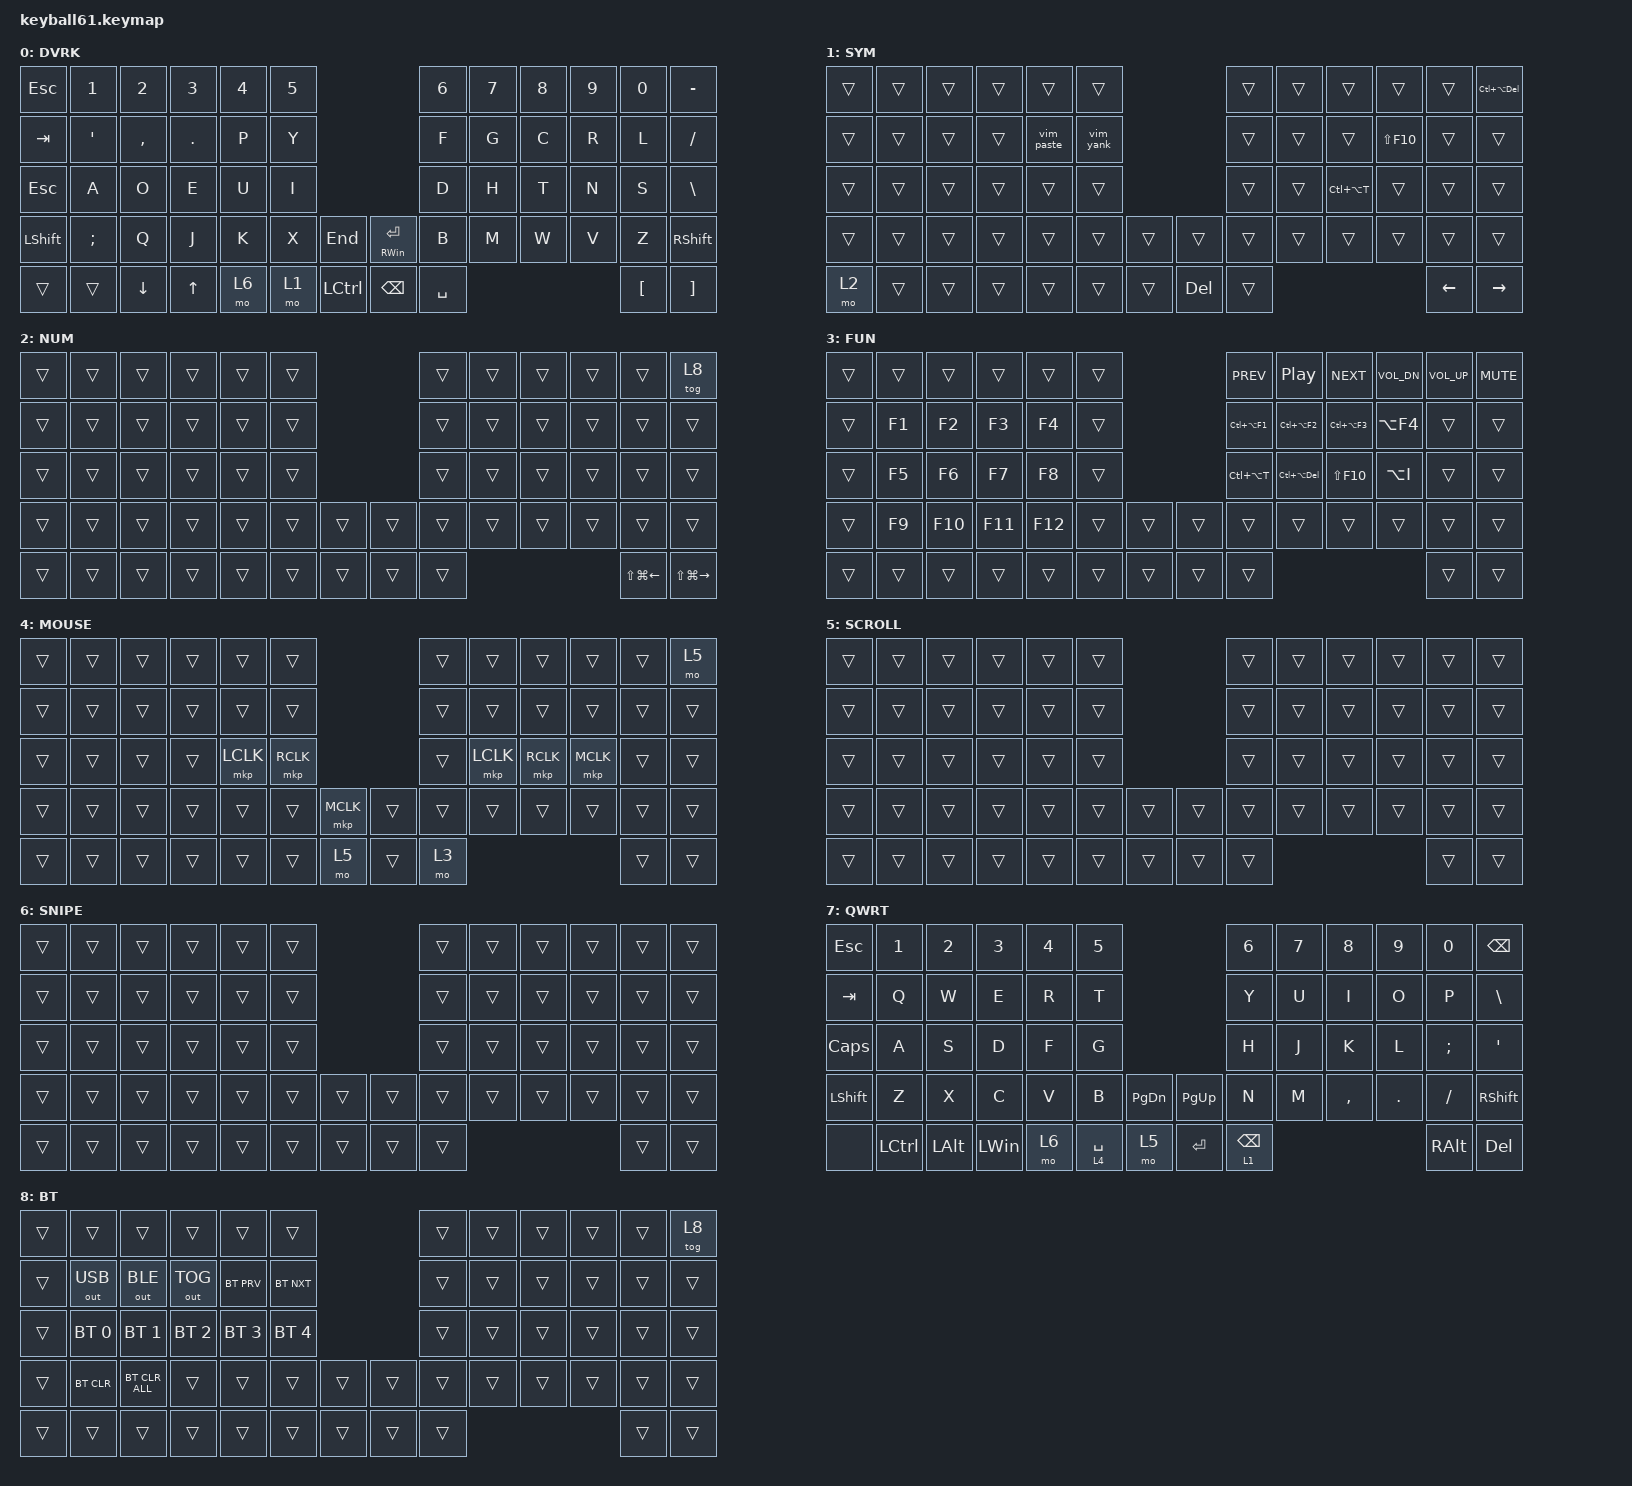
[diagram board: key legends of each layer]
#define DEFAULT 0
#define SYM     1
#define NUM     2
#define FUN     3
#define MOUSE   4
#define SCROLL  5
#define SNIPE   6
#define QWRT    7
#define BT      8

#include <behaviors/mouse_keys.dtsi>
#include <dt-bindings/zmk/mouse.h>
#include <behaviors.dtsi>
#include <dt-bindings/zmk/bt.h>
#include <dt-bindings/zmk/keys.h>
#include <dt-bindings/zmk/outputs.h>
#include <dt-bindings/zmk/pointing.h>

&nice_view_spi { cs-gpios = <&pro_micro 1 GPIO_ACTIVE_HIGH>; };

&lt {
    tapping-term-ms = <240>;
    flavor = "balanced";
    quick-tap-ms = <150>;
};

&mt {
    tapping-term-ms = <200>;
    flavor = "tap-preferred";
    quick-tap-ms = <150>;
};

/ {
    macros {
        #if __has_include("secrets.dtsi")
#include "secrets.dtsi"
#else
#include "secrets.example.dtsi"
#endif

        vim_paste: vim_paste {
            compatible = "zmk,behavior-macro";
            #binding-cells = <0>;
            wait-ms = <10>;
            tap-ms = <10>;
            bindings = <&macro_tap>, <&kp DOUBLE_QUOTES &kp PLUS &kp P>;
        };

        vim_yank: vim_yank {
            compatible = "zmk,behavior-macro";
            #binding-cells = <0>;
            wait-ms = <10>;
            tap-ms = <10>;
            bindings = <&macro_tap>, <&kp DOUBLE_QUOTES &kp PLUS &kp Y>;
        };
    };

    keymap {
        compatible = "zmk,keymap";

        default_layer {
            label = "DVRK";
            bindings = <
&kp ESC         &kp N1    &kp N2     &kp N3        &kp N4  &kp N5                                         &kp N6     &kp N7  &kp N8  &kp N9  &kp N0            &kp MINUS
&kp TAB         &kp SQT   &kp COMMA  &kp DOT       &kp P   &kp Y                                          &kp F      &kp G   &kp C   &kp R   &kp L             &kp FSLH
&kp ESC         &kp A     &kp O      &kp E         &kp U   &kp I                                          &kp D      &kp H   &kp T   &kp N   &kp S             &kp BACKSLASH
&kp LEFT_SHIFT  &kp SEMI  &kp Q      &kp J         &kp K   &kp X   &kp END           &mt RIGHT_WIN ENTER  &kp B      &kp M   &kp W   &kp V   &kp Z             &kp RIGHT_SHIFT
&trans          &trans    &kp DOWN   &kp UP_ARROW  &mo 6   &mo 1   &kp LEFT_CONTROL  &kp BACKSPACE        &kp SPACE                          &kp LEFT_BRACKET  &kp RIGHT_BRACKET
            >;
        };

        symbol_layer {
            label = "SYM";
            bindings = <
&trans  &trans  &trans  &trans  &trans      &trans                         &trans  &trans  &trans         &trans       &trans          &kp LC(LA(DEL))
&trans  &trans  &trans  &trans  &vim_paste  &vim_yank                      &trans  &trans  &trans         &kp LS(F10)  &trans          &trans
&trans  &trans  &trans  &trans  &trans      &trans                         &trans  &trans  &kp LC(LA(T))  &trans       &trans          &trans
&trans  &trans  &trans  &trans  &trans      &trans     &trans  &trans      &trans  &trans  &trans         &trans       &trans          &trans
&mo 2   &trans  &trans  &trans  &trans      &trans     &trans  &kp DELETE  &trans                                      &kp LEFT_ARROW  &kp RIGHT
            >;
        };

        number_layer {
            bindings = <
&trans  &trans  &trans  &trans  &trans  &trans                  &trans  &trans  &trans  &trans  &trans            &tog 8
&trans  &trans  &trans  &trans  &trans  &trans                  &trans  &trans  &trans  &trans  &trans            &trans
&trans  &trans  &trans  &trans  &trans  &trans                  &trans  &trans  &trans  &trans  &trans            &trans
&trans  &trans  &trans  &trans  &trans  &trans  &trans  &trans  &trans  &trans  &trans  &trans  &trans            &trans
&trans  &trans  &trans  &trans  &trans  &trans  &trans  &trans  &trans                          &kp LS(LG(LEFT))  &kp LS(LG(RIGHT))
            >;

            label = "NUM";
        };

        function_layer {
            label = "FUN";
            bindings = <
&trans  &trans  &trans   &trans   &trans   &trans                  &kp C_PREV      &kp C_PLAY_PAUSE  &kp C_NEXT      &kp C_VOL_DN  &kp C_VOL_UP  &kp C_MUTE
&trans  &kp F1  &kp F2   &kp F3   &kp F4   &trans                  &kp LC(LA(F1))  &kp LC(LA(F2))    &kp LC(LA(F3))  &kp LA(F4)    &trans        &trans
&trans  &kp F5  &kp F6   &kp F7   &kp F8   &trans                  &kp LC(LA(T))   &kp LC(LA(DEL))   &kp LS(F10)     &kp LA(I)     &trans        &trans
&trans  &kp F9  &kp F10  &kp F11  &kp F12  &trans  &trans  &trans  &trans          &trans            &trans          &trans        &trans        &trans
&trans  &trans  &trans   &trans   &trans   &trans  &trans  &trans  &trans                                                          &trans        &trans
            >;
        };

        mouse_layer {
            label = "MOUSE";
            bindings = <
&trans  &trans  &trans  &trans  &trans     &trans                        &trans  &trans     &trans     &trans     &trans  &mo 5
&trans  &trans  &trans  &trans  &trans     &trans                        &trans  &trans     &trans     &trans     &trans  &trans
&trans  &trans  &trans  &trans  &mkp LCLK  &mkp RCLK                     &trans  &mkp LCLK  &mkp RCLK  &mkp MCLK  &trans  &trans
&trans  &trans  &trans  &trans  &trans     &trans     &mkp MCLK  &trans  &trans  &trans     &trans     &trans     &trans  &trans
&trans  &trans  &trans  &trans  &trans     &trans     &mo 5      &trans  &mo 3                                    &trans  &trans
            >;
        };

        scroll_layer {
            label = "SCROLL";
            bindings = <
&trans  &trans  &trans  &trans  &trans  &trans                  &trans  &trans  &trans  &trans  &trans  &trans
&trans  &trans  &trans  &trans  &trans  &trans                  &trans  &trans  &trans  &trans  &trans  &trans
&trans  &trans  &trans  &trans  &trans  &trans                  &trans  &trans  &trans  &trans  &trans  &trans
&trans  &trans  &trans  &trans  &trans  &trans  &trans  &trans  &trans  &trans  &trans  &trans  &trans  &trans
&trans  &trans  &trans  &trans  &trans  &trans  &trans  &trans  &trans                          &trans  &trans
            >;
        };

        snipe_layer {
            label = "SNIPE";
            bindings = <
&trans  &trans  &trans  &trans  &trans  &trans                  &trans  &trans  &trans  &trans  &trans  &trans
&trans  &trans  &trans  &trans  &trans  &trans                  &trans  &trans  &trans  &trans  &trans  &trans
&trans  &trans  &trans  &trans  &trans  &trans                  &trans  &trans  &trans  &trans  &trans  &trans
&trans  &trans  &trans  &trans  &trans  &trans  &trans  &trans  &trans  &trans  &trans  &trans  &trans  &trans
&trans  &trans  &trans  &trans  &trans  &trans  &trans  &trans  &trans                          &trans  &trans
            >;
        };

        qwerty_layer {
            label = "QWRT";
            bindings = <
&kp ESC         &kp N1     &kp N2        &kp N3        &kp N4  &kp N5                                   &kp N6           &kp N7  &kp N8     &kp N9   &kp N0         &kp BSPC
&kp TAB         &kp Q      &kp W         &kp E         &kp R   &kp T                                    &kp Y            &kp U   &kp I      &kp O    &kp P          &kp BACKSLASH
&kp CAPS        &kp A      &kp S         &kp D         &kp F   &kp G                                    &kp H            &kp J   &kp K      &kp L    &kp SEMI       &kp SQT
&kp LEFT_SHIFT  &kp Z      &kp X         &kp C         &kp V   &kp B        &kp PAGE_DOWN  &kp PAGE_UP  &kp N            &kp M   &kp COMMA  &kp DOT  &kp FSLH       &kp RIGHT_SHIFT
&none           &kp LCTRL  &kp LEFT_ALT  &kp LEFT_WIN  &mo 6   &lt 4 SPACE  &mo 5          &kp ENTER    &lt 1 BACKSPACE                              &kp RIGHT_ALT  &kp DELETE
            >;
        };

        bluetooth_layer {
            label = "BT";
            bindings = <
&trans  &trans        &trans          &trans        &trans        &trans                        &trans  &trans  &trans  &trans  &trans  &tog 8
&trans  &out OUT_USB  &out OUT_BLE    &out OUT_TOG  &bt BT_PRV    &bt BT_NXT                    &trans  &trans  &trans  &trans  &trans  &trans
&trans  &bt BT_SEL 0  &bt BT_SEL 1    &bt BT_SEL 2  &bt BT_SEL 3  &bt BT_SEL 4                  &trans  &trans  &trans  &trans  &trans  &trans
&trans  &bt BT_CLR    &bt BT_CLR_ALL  &trans        &trans        &trans        &trans  &trans  &trans  &trans  &trans  &trans  &trans  &trans
&trans  &trans        &trans          &trans        &trans        &trans        &trans  &trans  &trans                          &trans  &trans
            >;
        };
    };
};
